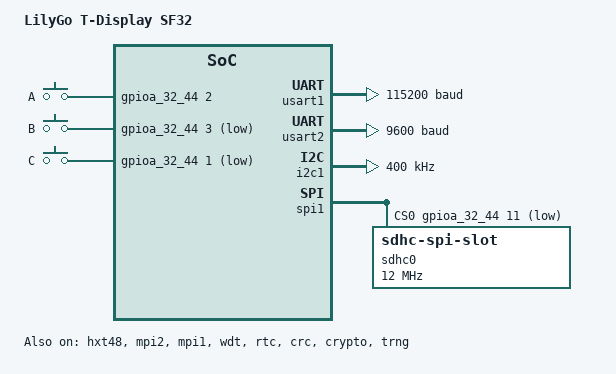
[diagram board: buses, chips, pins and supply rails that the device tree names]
/*
 * LilyGo T-Display SF32 (SF32LB525UC6)
 *
 * Derived from boards/sifli/sf32lb52_devkit_lcd (Copyright (c) 2025 Core Devices LLC)
 * SPDX-License-Identifier: Apache-2.0
 */

/dts-v1/;

#include <sifli/sf32lb52x.dtsi>
#include <sifli/sf32lb52x-ram012.dtsi>
#include <zephyr/dt-bindings/dma/sf32lb52x-dma.h>
#include <zephyr/dt-bindings/memory-attr/memory-attr-arm.h>
#include <zephyr/dt-bindings/gpio/gpio.h>
#include <zephyr/dt-bindings/i2c/i2c.h>
#include <zephyr/dt-bindings/input/input-event-codes.h>

#include "t_display_sf32-pinctrl.dtsi"

/ {
	model = "LilyGo T-Display SF32";
	compatible = "lilygo,t-display-sf32";

	chosen {
		zephyr,flash = &w25q128;
		zephyr,flash-controller = &mpi2;
		zephyr,code-partition = &code;
		zephyr,console = &usart1;
		zephyr,shell-uart = &usart1;
		zephyr,crc = &crc;
		zephyr,entropy = &trng;
		zephyr,bt-hci = &mailbox;
	};

	/* The three side buttons, silkscreened A/B/C. Pins and polarity follow
	 * LilyGo's pin map and button example; B is the odd one out, wired
	 * active-high with a pull-down.
	 */
	buttons {
		compatible = "gpio-keys";

		key_a: key_a {
			label = "A";
			gpios = <&gpioa_32_44 2 (GPIO_ACTIVE_HIGH | GPIO_PULL_DOWN)>;
			zephyr,code = <INPUT_KEY_A>;
		};

		key_b: key_b {
			label = "B";
			gpios = <&gpioa_32_44 3 (GPIO_ACTIVE_LOW | GPIO_PULL_UP)>;
			zephyr,code = <INPUT_KEY_B>;
		};

		key_c: key_c {
			label = "C";
			gpios = <&gpioa_32_44 1 (GPIO_ACTIVE_LOW | GPIO_PULL_UP)>;
			zephyr,code = <INPUT_KEY_C>;
		};
	};

	soc {
		/* Lives here rather than under &mpi1, which declares
		 * #size-cells = <0> for its flash children.
		 */
		psram: memory@60000000 {
			compatible = "zephyr,memory-region", "mmio-sram";
			reg = <0x60000000 DT_SIZE_M(8)>;
			device_type = "memory";
			zephyr,memory-region = "PSRAM";
			zephyr,memory-attr = <DT_MEM_ARM(ATTR_MPU_RAM)>;
		};
	};

	aliases {
		sw0 = &key_c;
		sw1 = &key_a;
		sw2 = &key_b;
		rtc = &rtc;
		watchdog0 = &wdt;
	};
};

&cpu0 {
	clock-frequency = <DT_FREQ_M(240)>;
};

&hxt48 {
	status = "okay";
};

&rcc_clk {
	status = "okay";

	sifli,hdiv = <1>;
	sifli,pdiv1 = <1>;
	sifli,pdiv2 = <6>;
	sifli,sys-clk-src = "dll1";

	dll1 {
		status = "okay";
		clock-frequency = <DT_FREQ_M(240)>;
	};
};

&rcc_rst {
	status = "okay";
};

&gpioa_00_31 {
	status = "okay";
};

&gpioa_32_44 {
	status = "okay";
};

&dmac {
	status = "okay";
};

&pinctrl {
	status = "okay";
};

/* W25Q128JV, 16 MB. The ptable/code split matches the SiFli bootloader's
 * expectations; the tail is a LittleFS storage partition for NodeDB/config.
 */
&mpi2 {
	compatible = "sifli,sf32lb-mpi-qspi-nor";
	dmas = <&dmac 0 SF32LB52X_DMA_REQ_MPI2 SF32LB_DMA_PL_MEDIUM>;
	sifli,psclr = <0>;
	sifli,lines = <4>;
	status = "okay";

	/* The MPI controller is the flash device; this child only carries the
	 * chip's parameters. Tagging it soc-nv-flash as well makes flash_map
	 * resolve partitions to the controller instead of to this node, which
	 * has no driver of its own.
	 */
	w25q128: flash@0 {
		compatible = "jedec,qspi-nor", "soc-nv-flash";
		reg = <0x0>;
		size = <DT_SIZE_M(128)>;
		quad-enable-requirements = "S2B1v1";

		partitions {
			compatible = "fixed-partitions";
			#address-cells = <1>;
			#size-cells = <1>;

			ptable: partition@0 {
				label = "ptable";
				reg = <0x0 DT_SIZE_K(64)>;
			};

			code: partition@10000 {
				label = "code";
				reg = <0x10000 DT_SIZE_K(8128)>;
			};

			storage_partition: partition@800000 {
				label = "storage";
				reg = <0x800000 DT_SIZE_K(8192)>;
			};
		};
	};
};

/* MPI1 drives the 8 MB of in-package OPI PSRAM; the memory itself appears at
 * its own aperture, not MPI1's NOR window. Brought up by
 * zephyr/sifli/drivers/psram_sf32lb.c, since Zephyr's SiFli support describes
 * only QSPI NOR on the MPI controllers.
 */
&mpi1 {
	compatible = "sifli,sf32lb-mpi-psram";
	status = "okay";
};

&usart1 {
	status = "okay";
	current-speed = <115200>;
	pinctrl-0 = <&usart1_default>;
	pinctrl-names = "default";
};

&usart2 {
	status = "okay";
	current-speed = <9600>;
	pinctrl-0 = <&usart2_default>;
	pinctrl-names = "default";
};

&i2c1 {
	status = "okay";
	pinctrl-0 = <&i2c1_default>;
	pinctrl-names = "default";
	clock-frequency = <I2C_BITRATE_FAST>;
};

/* SX1262 CS (PA29) is driven by RadioLib through the Arduino shim, so only the
 * TF card's CS (PA43) is registered here.
 */
&spi1 {
	status = "okay";
	pinctrl-0 = <&spi1_default>;
	pinctrl-names = "default";
	cs-gpios = <&gpioa_32_44 11 GPIO_ACTIVE_LOW>;

	/* TF slot. Shares the bus with the radio, so every card access takes the
	 * same SPI lock RadioLib does.
	 */
	sdhc0: sdhc@0 {
		compatible = "zephyr,sdhc-spi-slot";
		reg = <0>;
		status = "okay";
		spi-max-frequency = <12000000>;

		mmc {
			compatible = "zephyr,sdmmc-disk";
			disk-name = "SD";
			status = "okay";
		};
	};
};

/* The CO5300 is driven through the vendor LCDC HAL from
 * src/platform/sifli/LGFX_Bus_LCDC.cpp, because Zephyr's mipi_dbi driver has
 * no quad mode. Both nodes stay disabled so that driver does not claim the
 * controller; the pin state and clock are still described here.
 */
&lcdc {
	lcdc_dbi: mipi-dbi {
		pinctrl-0 = <&lcdc_qspi_default>;
		pinctrl-names = "default";
	};
};

&wdt {
	status = "okay";
};

&rtc {
	status = "okay";
};

&crc {
	status = "okay";
};

&crypto {
	status = "okay";
};

&trng {
	status = "okay";
};

&mailbox {
	status = "okay";
};
